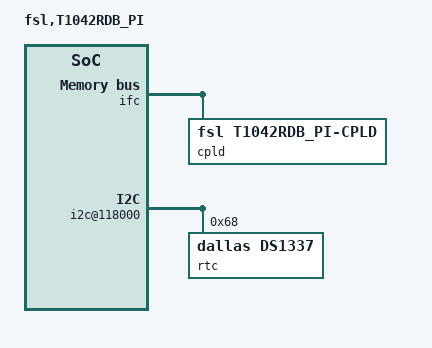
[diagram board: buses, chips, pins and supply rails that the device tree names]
/include/ "t104xsi-pre.dtsi"
/include/ "t104xrdb.dtsi"
/ {
	model = "fsl,T1042RDB_PI";
	compatible = "fsl,T1042RDB_PI";
	ifc: localbus@ffe124000 {
		cpld@3,0 {
			compatible = "fsl,t1042rdb_pi-cpld";
		};
	};
	soc: soc@ffe000000 {
		i2c@118000 {
			rtc@68 {
				compatible = "dallas,ds1337";
				reg = <0x68>;
				interrupts = <0x2 0x1 0 0>;
			};
		};
		fman@400000 {
			ethernet@e0000 {
				status = "disabled";
			};
			ethernet@e2000 {
				status = "disabled";
			};
			ethernet@e4000 {
				status = "disabled";
			};
		};
	};
};
#include "t1042si-post.dtsi"
